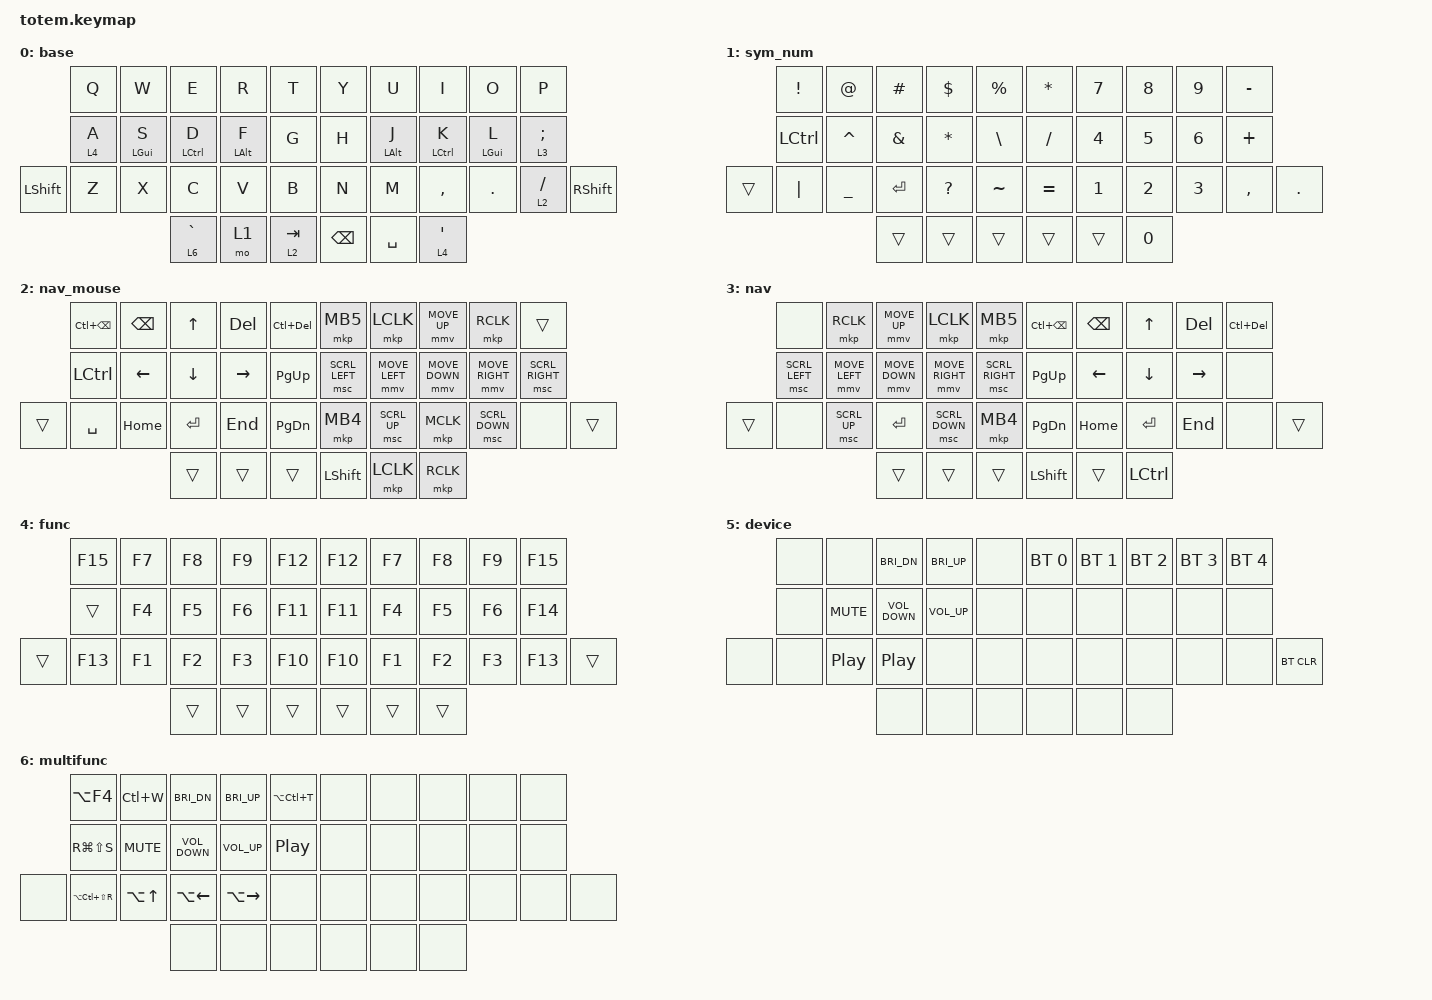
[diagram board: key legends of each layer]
//
//                                                        ▀▀▀▀▀     ▀▀▀▀▀          ▀▀█▀▀
//                                                        ▄▀▀▀▄  ▄  ▄▀▀▀▄  ▄  ▄▀▀▀▄  █  ▄▀▀▀▄
//                                                        █   █  █  █   █  █  █   █  █  █   █
//                                                         ▀▀▀   █   ▀▀▀   █   ▀▀▀   ▀   ▀▀▀
//                                                               █      ▄▄▄█▄▄▄    █   █  
//                                                               ▀      █  █  █     █▄█
//                                                             ▀▀▀▀▀    █  █  █      ▀
//                                                                      ▀  ▀  ▀
//
// ▄▄▄▄▄▄▄▄▄▄▄▄▄▄▄▄▄▄▄▄▄▄▄▄▄▄▄▄▄▄▄▄▄▄▄▄▄▄▄▄▄▄▄▄▄▄▄▄▄▄▄▄▄▄▄▄▄▄▄▄▄▄▄▄▄▄▄▄▄▄▄▄▄▄▄▄▄▄▄▄▄▄▄▄▄▄▄▄▄▄▄▄▄▄▄▄▄▄▄▄▄▄▄▄▄▄▄▄▄▄▄▄▄▄▄▄▄▄▄▄▄▄▄▄▄▄▄▄▄▄▄▄▄▄▄▄▄▄▄▄▄▄▄▄▄▄▄▄▄

#include <behaviors.dtsi>
#include <dt-bindings/zmk/bt.h>
#include <dt-bindings/zmk/keys.h>
#include <dt-bindings/zmk/pointing.h>

// 마우스 이동 속도 (기본값: 600)

#define ZMK_POINTING_DEFAULT_MOVE_VAL 800    // 더 빠르게

// 스크롤 속도 (기본값: 10)

#define ZMK_POINTING_DEFAULT_SCRL_VAL 15      // 더 빠르게

/ {
    combos {
        compatible = "zmk,combos";

        enterjkl {
            bindings = <&kp ENTER>;
            key-positions = <16 17 18>;
            require-prior-idle-ms = <150>;
        };

        copy {
            bindings = <&kp LC(C)>;
            key-positions = <22 23>;
            require-prior-idle-ms = <150>;
        };

        paste {
            bindings = <&kp LC(V)>;
            key-positions = <23 24>;
            require-prior-idle-ms = <150>;
        };

        cut {
            bindings = <&kp LC(X)>;
            key-positions = <22 24>;
            require-prior-idle-ms = <150>;
        };

        esc {
            bindings = <&kp ESCAPE>;
            key-positions = <11 12 13>;
            require-prior-idle-ms = <150>;
        };

        leftbraket {
            bindings = <&kp LEFT_BRACKET>;
            key-positions = <6 7>;
            require-prior-idle-ms = <150>;
        };

        rightbraket {
            bindings = <&kp RIGHT_BRACKET>;
            key-positions = <8 7>;
            require-prior-idle-ms = <150>;
        };

        leftparen {
            bindings = <&kp LEFT_PARENTHESIS>;
            key-positions = <16 17>;
            require-prior-idle-ms = <150>;
        };

        rightparen {
            bindings = <&kp RIGHT_PARENTHESIS>;
            key-positions = <17 18>;
            require-prior-idle-ms = <150>;
        };

        leftbrace {
            bindings = <&kp LEFT_BRACE>;
            key-positions = <27 28>;
            require-prior-idle-ms = <150>;
        };

        rightbrace {
            bindings = <&kp RIGHT_BRACE>;
            key-positions = <28 29>;
            require-prior-idle-ms = <150>;
        };

        ctrlspace {
            bindings = <&kp LC(SPACE)>;
            key-positions = <16 18>;
            require-prior-idle-ms = <150>;
        };

        caps {
            bindings = <&kp CAPSLOCK>;
            key-positions = <6 8>;
            require-prior-idle-ms = <150>;
        };

        atsign {
            bindings = <&kp AT_SIGN>;
            key-positions = <11 1>;
            require-prior-idle-ms = <150>;
        };

        hash {
            bindings = <&kp HASH>;
            key-positions = <2 12>;
            require-prior-idle-ms = <150>;
        };

        dollar {
            bindings = <&kp DOLLAR>;
            key-positions = <13 3>;
            require-prior-idle-ms = <150>;
        };

        percent {
            bindings = <&kp PERCENT>;
            key-positions = <14 4>;
            require-prior-idle-ms = <150>;
        };

        caret {
            bindings = <&kp CARET>;
            key-positions = <15 5>;
            require-prior-idle-ms = <150>;
        };

        plus {
            bindings = <&kp PLUS>;
            key-positions = <16 6>;
            require-prior-idle-ms = <150>;
        };

        asterisk {
            bindings = <&kp ASTERISK>;
            key-positions = <17 7>;
            require-prior-idle-ms = <150>;
        };

        ampersand {
            bindings = <&kp AMPERSAND>;
            key-positions = <18 8>;
            require-prior-idle-ms = <150>;
        };

        grave {
            bindings = <&kp GRAVE>;
            key-positions = <22 11>;
            require-prior-idle-ms = <150>;
        };

        backslash {
            bindings = <&kp BACKSLASH>;
            key-positions = <23 12>;
            require-prior-idle-ms = <150>;
        };

        equal {
            bindings = <&kp EQUAL>;
            key-positions = <24 13>;
            require-prior-idle-ms = <150>;
        };

        tilde {
            bindings = <&kp TILDE>;
            key-positions = <25 14>;
            require-prior-idle-ms = <150>;
        };

        underscore {
            bindings = <&kp UNDERSCORE>;
            key-positions = <26 15>;
            require-prior-idle-ms = <150>;
        };

        minus {
            bindings = <&kp MINUS>;
            key-positions = <27 16>;
            require-prior-idle-ms = <150>;
        };

        slash {
            bindings = <&kp SLASH>;
            key-positions = <28 17>;
            require-prior-idle-ms = <150>;
        };

        pipe {
            bindings = <&kp PIPE>;
            key-positions = <18 29>;
            require-prior-idle-ms = <150>;
        };

        rightalt {
            bindings = <&kp RIGHT_ALT>;
            key-positions = <27 29>;
            require-prior-idle-ms = <150>;
        };
    };

    behaviors {
        tap_preferred: tap_preferred {
            compatible = "zmk,behavior-hold-tap";
            label = "TAP_PREFERRED";
            bindings = <&kp>, <&kp>;

            #binding-cells = <2>;
            tapping-term-ms = <200>;
            flavor = "tap-preferred";
            quick-tap-ms = <175>;
            require-prior-idle-ms = <150>;
        };

        hold_preferred_mo: hold_preferred_mo {
            compatible = "zmk,behavior-hold-tap";
            label = "HOLD_PREFERRED_MO";
            bindings = <&mo>, <&kp>;

            #binding-cells = <2>;
            tapping-term-ms = <200>;
            flavor = "hold-preferred";
            quick-tap-ms = <175>;
            require-prior-idle-ms = <0>;
        };

        tap_preferred_mo: tap_preferred_mo {
            compatible = "zmk,behavior-hold-tap";
            label = "TAP_PREFERRED_MO";
            bindings = <&mo>, <&kp>;

            #binding-cells = <2>;
            tapping-term-ms = <200>;
            flavor = "tap-preferred";
            quick-tap-ms = <175>;
            require-prior-idle-ms = <250>;
        };
    };

    keymap {
        compatible = "zmk,keymap";

        base {
            bindings = <
                &kp Q                  &kp W                      &kp E                          &kp R                      &kp T                       &kp Y          &kp U                      &kp I                          &kp O                      &kp P
                &tap_preferred_mo 4 A  &tap_preferred LEFT_GUI S  &tap_preferred LEFT_CONTROL D  &tap_preferred LEFT_ALT F  &kp G                       &kp H          &tap_preferred LEFT_ALT J  &tap_preferred LEFT_CONTROL K  &tap_preferred LEFT_GUI L  &tap_preferred_mo 3 SEMICOLON
&kp LEFT_SHIFT  &kp Z                  &kp X                      &kp C                          &kp V                      &kp B                       &kp N          &kp M                      &kp COMMA                      &kp DOT                    &tap_preferred_mo 2 SLASH      &kp RIGHT_SHIFT
                                                                  &hold_preferred_mo 6 GRAVE     &mo 1                      &hold_preferred_mo 2 TAB    &kp BACKSPACE  &kp SPACE                  &hold_preferred_mo 4 SQT
            >;
        };

        sym_num {
            bindings = <
        &kp EXCLAMATION   &kp AT_SIGN  &kp HASH       &kp DOLLAR    &kp PERCENT      &kp ASTERISK  &kp NUMBER_7  &kp NUMBER_8  &kp NUMBER_9  &kp MINUS
        &kp LEFT_CONTROL  &kp CARET    &kp AMPERSAND  &kp ASTERISK  &kp BACKSLASH    &kp SLASH     &kp NUMBER_4  &kp NUMBER_5  &kp NUMBER_6  &kp PLUS
&trans  &kp PIPE          &kp UNDER    &kp ENTER      &kp QUESTION  &kp TILDE        &kp EQUAL     &kp NUMBER_1  &kp NUMBER_2  &kp NUMBER_3  &kp COMMA  &kp PERIOD
                                       &trans         &trans        &trans           &trans        &trans        &kp NUMBER_0
            >;
        };

        nav_mouse {
            bindings = <
        &kp LC(BACKSPACE)  &kp BACKSPACE   &kp UP     &kp DELETE  &kp LC(DELETE)    &mkp MB5        &mkp LCLK       &mmv MOVE_UP    &mkp RCLK        &trans
        &kp LEFT_CONTROL   &kp LEFT_ARROW  &kp DOWN   &kp RIGHT   &kp PAGE_UP       &msc SCRL_LEFT  &mmv MOVE_LEFT  &mmv MOVE_DOWN  &mmv MOVE_RIGHT  &msc SCRL_RIGHT
&trans  &kp SPACE          &kp HOME        &kp ENTER  &kp END     &kp PAGE_DOWN     &mkp MB4        &msc SCRL_UP    &mkp MCLK       &msc SCRL_DOWN   &none            &trans
                                           &trans     &trans      &trans            &kp LEFT_SHIFT  &mkp LCLK       &mkp RCLK
            >;
        };

        nav {
            bindings = <
        &none           &mkp RCLK       &mmv MOVE_UP    &mkp LCLK        &mkp MB5           &kp LC(BACKSPACE)  &kp BACKSPACE   &kp UP_ARROW      &kp DELETE  &kp LC(DELETE)
        &msc SCRL_LEFT  &mmv MOVE_LEFT  &mmv MOVE_DOWN  &mmv MOVE_RIGHT  &msc SCRL_RIGHT    &kp PAGE_UP        &kp LEFT_ARROW  &kp DOWN          &kp RIGHT   &none
&trans  &none           &msc SCRL_UP    &kp ENTER       &msc SCRL_DOWN   &mkp MB4           &kp PAGE_DOWN      &kp HOME        &kp ENTER         &kp END     &none           &trans
                                        &trans          &trans           &trans             &kp LEFT_SHIFT     &trans          &kp LEFT_CONTROL
            >;
        };

        func {
            bindings = <
        &kp F15  &kp F7  &kp F8  &kp F9  &kp F12    &kp F12  &kp F7  &kp F8  &kp F9  &kp F15
        &trans   &kp F4  &kp F5  &kp F6  &kp F11    &kp F11  &kp F4  &kp F5  &kp F6  &kp F14
&trans  &kp F13  &kp F1  &kp F2  &kp F3  &kp F10    &kp F10  &kp F1  &kp F2  &kp F3  &kp F13  &trans
                         &trans  &trans  &trans     &trans   &trans  &trans
            >;
        };

        device {
            bindings = <
       &none  &none             &kp C_BRI_DN       &kp C_BRI_UP     &none    &bt BT_SEL 0  &bt BT_SEL 1  &bt BT_SEL 2  &bt BT_SEL 3  &bt BT_SEL 4
       &none  &kp K_MUTE        &kp C_VOLUME_DOWN  &kp C_VOLUME_UP  &none    &none         &none         &none         &none         &none
&none  &none  &kp C_PLAY_PAUSE  &kp C_PLAY_PAUSE   &none            &none    &none         &none         &none         &none         &none         &bt BT_CLR
                                &none              &none            &none    &none         &none         &none
            >;
        };

        multifunc {
            bindings = <
       &kp LA(F4)         &kp LC(W)         &kp C_BRI_DN       &kp C_BRI_UP     &kp LA(LC(T))       &none  &none  &none  &none  &none
       &kp RG(LS(S))      &kp K_MUTE        &kp C_VOLUME_DOWN  &kp C_VOLUME_UP  &kp C_PLAY_PAUSE    &none  &none  &none  &none  &none
&none  &kp LA(LC(LS(R)))  &kp LA(UP_ARROW)  &kp LA(LEFT)       &kp LA(RIGHT)    &none               &none  &none  &none  &none  &none  &none
                                            &none              &none            &none               &none  &none  &none
            >;
        };
    };

    conditional_layers {
        compatible = "zmk,conditional-layers";

        device {
            if-layers = <1 2>;
            then-layer = <5>;
        };
    };
};
